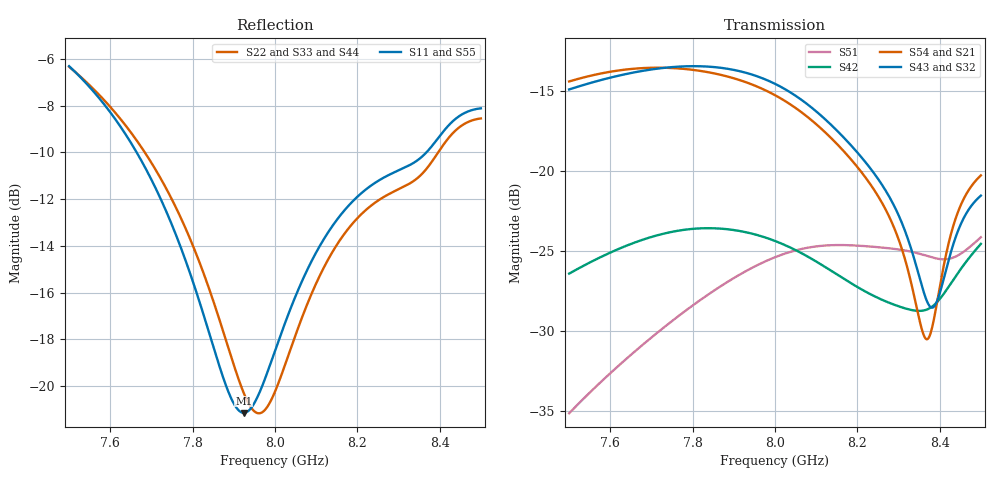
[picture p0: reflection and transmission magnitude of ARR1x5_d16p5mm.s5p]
! Touchstone file exported from HFSS 2025.1.0
!  File:  C:/Users/user/Documents/Ansoft/TFG_UWB-MIMO-Array.aedt
!  Generated:  04:10:07 PM Nov 20, 2026
!  Design:  ARR1x5_US3_PS6_4_dparam
!  Project:  TFG_UWB-MIMO-Array
!  Setup:  Setup_ch9
!  Solution:  Sweep_7p5_8p5
! Variables:
!  arr_d = 16.5mm
!  board_m = 13mm
!  board_x = 92mm
!  board_y = 26mm
!  cu_t = 0.035mm
!  line_w = 3.92mm
!  pad_xy = 22mm
!  pad_zn = 25mm
!  pad_zp = 33mm
!  par_L = 7.05mm
!  par_W = 13.58mm
!  par_yc = 0.615mm
!  par_z = 1.035mm
!  patch_L = 6.29mm
!  patch_W = 14mm
!  sub_h = 2.07mm
!  tr_l = 7.25mm
!  tr_w = 1mm
!  u_Lu = 2.65mm
!  u_Wu = 4.4mm
!  u_t = 0.8mm
!  u_y0 = -0.7mm
# GHz S MA R 50.000000
! Terminal data exported
! Port[1] = P1
! Port[2] = P2
! Port[3] = P3
! Port[4] = P4
! Port[5] = P5
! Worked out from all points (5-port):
!   1001 points, 7.5 GHz to 8.5 GHz, reference 50 ohm
!   strongest paths, dB at 7.5 GHz, 7.75 GHz, 8 GHz, 8.25 GHz, 8.5 GHz:
!     S43: -14.9, -13.5, -14.6, -20.5, -21.5
!     S32: -14.9, -13.5, -14.6, -20.5, -21.5
!     S54: -14.4, -13.6, -15.3, -21.6, -20.3
!     S21: -14.4, -13.6, -15.3, -21.5, -20.3
!     S42: -26.4, -23.8, -24.4, -27.9, -24.6
!     S51: -35.1, -29.4, -25.4, -24.8, -24.1
!   lowest |S11| = -21.2 dB at 7.924 GHz (marker M1), VSWR 1.19, Z = 59.1 - j2.91 ohm
!   |S11| at or under -10 dB: 7.664 GHz to 8.368 GHz (703.9 MHz wide, 8.78 % of centre)
